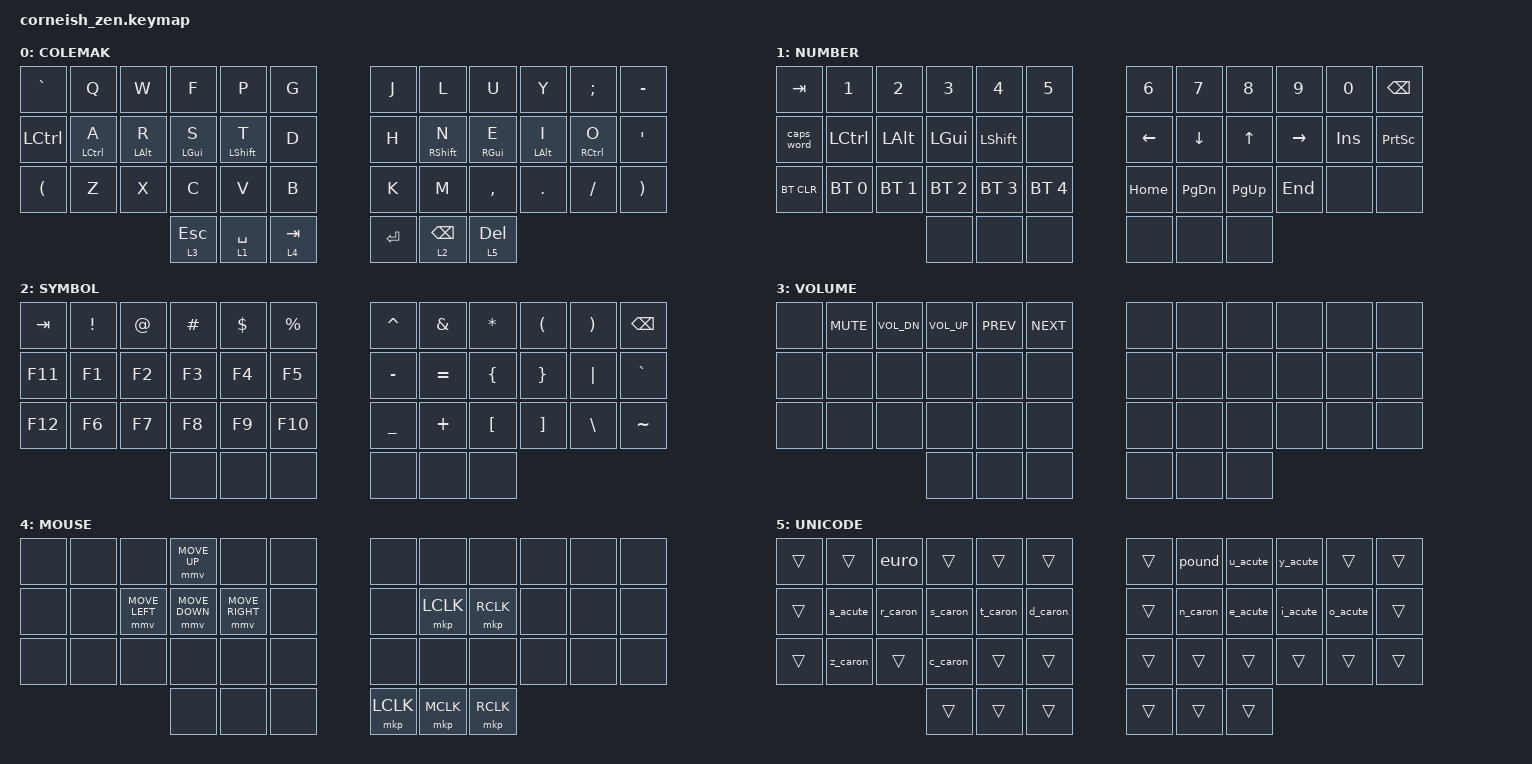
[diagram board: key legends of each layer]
#include <behaviors/mouse_keys.dtsi>
#include <behaviors.dtsi>
#include <dt-bindings/zmk/bt.h>
#include <dt-bindings/zmk/keys.h>
#include <dt-bindings/zmk/mouse.h>

/ {
    chosen { zmk,matrix_transform = &default_transform; };
};

&mt {
    flavor = "tap-preferred";
    quick-tap-ms = <175>;
    tapping-term-ms = <200>;
    require-prior-idle-ms = <125>;
};

&lt {
    flavor = "hold-preferred";
    quick-tap-ms = <100>;
    tapping-term-ms = <150>;
    require-prior-idle-ms = <50>;
};

#define COLEMAK 0
#define NUMBER 1
#define SYMBOL 2
#define VOLUME 3
#define MOUSE 4
#define UNICODE 5

/ {
    combos {
        compatible = "zmk,combos";

        // Copy/paste combos (bottom row)
        combo_cc {
            timeout-ms = <30>;
            key-positions = <25 26>;  // Z+X
            bindings = <&kp LC(C)>;  // Ctrl+C (copy)
        };

        combo_cv {
            timeout-ms = <30>;
            key-positions = <27 28>;  // C+V
            bindings = <&kp LC(V)>;  // Ctrl+V (paste)
        };

        combo_csc {
            timeout-ms = <30>;
            key-positions = <25 26 27>;  // Z+X+C
            bindings = <&kp LC(LS(C))>;  // Ctrl+Shift+C (copy with formatting)
        };

        combo_csv {
            timeout-ms = <30>;
            key-positions = <26 27 28>;  // X+C+V
            bindings = <&kp LC(LS(V))>;  // Ctrl+Shift+V (paste without formatting)
        };

        // GNOME workspace navigation
        combo_workspace_left {
            timeout-ms = <25>;
            key-positions = <3 4>;  // F+P (top row)
            bindings = <&kp LC(LA(LEFT))>;  // Ctrl+Alt+Left
        };

        combo_workspace_right {
            timeout-ms = <25>;
            key-positions = <7 8>;  // L+U (top row)
            bindings = <&kp LC(LA(RIGHT))>;  // Ctrl+Alt+Right
        };

        // Window tiling
        combo_tile_left {
            timeout-ms = <25>;
            key-positions = <1 2>;  // Q+W (left top row)
            bindings = <&kp LS(LG(LEFT))>;  // Super+Shift+Left
        };

        combo_tile_right {
            timeout-ms = <25>;
            key-positions = <9 10>;  // U+Y (right top row)
            bindings = <&kp LS(LG(RIGHT))>;  // Super+Shift+Right
        };
    };

    macros {
        // Special currency symbols
        pound: pound {
            compatible = "zmk,behavior-macro";
            #binding-cells = <0>;
            bindings = <&kp LC(LS(U)) &kp A &kp N3 &kp SPACE>;
        };

        euro: euro {
            compatible = "zmk,behavior-macro";
            #binding-cells = <0>;
            bindings = <&kp LC(LS(U)) &kp N2 &kp N0 &kp A &kp C &kp SPACE>;
        };

        // Czech lowercase vowels
        a_acute: a_acute { compatible = "zmk,behavior-macro"; #binding-cells = <0>; bindings = <&kp LC(LS(U)) &kp E &kp N1 &kp SPACE>; };
        e_acute: e_acute { compatible = "zmk,behavior-macro"; #binding-cells = <0>; bindings = <&kp LC(LS(U)) &kp E &kp N9 &kp SPACE>; };
        e_caron: e_caron { compatible = "zmk,behavior-macro"; #binding-cells = <0>; bindings = <&kp LC(LS(U)) &kp N1 &kp N1 &kp B &kp SPACE>; };
        i_acute: i_acute { compatible = "zmk,behavior-macro"; #binding-cells = <0>; bindings = <&kp LC(LS(U)) &kp E &kp D &kp SPACE>; };
        o_acute: o_acute { compatible = "zmk,behavior-macro"; #binding-cells = <0>; bindings = <&kp LC(LS(U)) &kp F &kp N3 &kp SPACE>; };
        u_acute: u_acute { compatible = "zmk,behavior-macro"; #binding-cells = <0>; bindings = <&kp LC(LS(U)) &kp F &kp A &kp SPACE>; };
        u_ring: u_ring { compatible = "zmk,behavior-macro"; #binding-cells = <0>; bindings = <&kp LC(LS(U)) &kp N1 &kp N6 &kp F &kp SPACE>; };
        y_acute: y_acute { compatible = "zmk,behavior-macro"; #binding-cells = <0>; bindings = <&kp LC(LS(U)) &kp F &kp D &kp SPACE>; };

        // Czech lowercase consonants
        c_caron: c_caron { compatible = "zmk,behavior-macro"; #binding-cells = <0>; bindings = <&kp LC(LS(U)) &kp N1 &kp N0 &kp D &kp SPACE>; };
        d_caron: d_caron { compatible = "zmk,behavior-macro"; #binding-cells = <0>; bindings = <&kp LC(LS(U)) &kp N1 &kp N0 &kp F &kp SPACE>; };
        n_caron: n_caron { compatible = "zmk,behavior-macro"; #binding-cells = <0>; bindings = <&kp LC(LS(U)) &kp N1 &kp N4 &kp N8 &kp SPACE>; };
        r_caron: r_caron { compatible = "zmk,behavior-macro"; #binding-cells = <0>; bindings = <&kp LC(LS(U)) &kp N1 &kp N5 &kp N9 &kp SPACE>; };
        s_caron: s_caron { compatible = "zmk,behavior-macro"; #binding-cells = <0>; bindings = <&kp LC(LS(U)) &kp N1 &kp N6 &kp N1 &kp SPACE>; };
        t_caron: t_caron { compatible = "zmk,behavior-macro"; #binding-cells = <0>; bindings = <&kp LC(LS(U)) &kp N1 &kp N6 &kp N5 &kp SPACE>; };
        z_caron: z_caron { compatible = "zmk,behavior-macro"; #binding-cells = <0>; bindings = <&kp LC(LS(U)) &kp N1 &kp N7 &kp E &kp SPACE>; };
    };

    keymap {
        compatible = "zmk,keymap";

        default_layer {
            label = "COLEMAK";
            bindings = <
&kp GRAVE  &kp Q        &kp W       &kp F       &kp P        &kp G        &kp J        &kp L        &kp U       &kp Y       &kp SEMI     &kp MINUS
&kp LCTRL  &mt LCTRL A  &mt LALT R  &mt LGUI S  &mt LSHFT T  &kp D        &kp H        &mt RSHFT N  &mt RGUI E  &mt LALT I  &mt RCTRL O  &kp SQT
&kp LPAR   &kp Z        &kp X       &kp C       &kp V        &kp B        &kp K        &kp M        &kp COMMA   &kp DOT     &kp FSLH     &kp RPAR
                                    &lt 3 ESC   &lt 1 SPACE  &lt 4 TAB    &kp ENTER    &lt 2 BSPC   &lt 5 DEL
            >;
        };

        number_layer {
            label = "NUMBER";
            bindings = <
&kp TAB     &kp N1        &kp N2        &kp N3        &kp N4        &kp N5          &kp N6    &kp N7     &kp N8     &kp N9     &kp N0   &kp BSPC
&caps_word  &kp LCTRL     &kp LALT      &kp LGUI      &kp LSHFT     &none           &kp LEFT  &kp DOWN   &kp UP     &kp RIGHT  &kp INS  &kp PRINTSCREEN
&bt BT_CLR  &bt BT_SEL 0  &bt BT_SEL 1  &bt BT_SEL 2  &bt BT_SEL 3  &bt BT_SEL 4    &kp HOME  &kp PG_DN  &kp PG_UP  &kp END    &none    &none
                                        &none         &none         &none           &none     &none      &none
            >;
        };

        symbol_layer {
            label = "SYMBOL";
            bindings = <
&kp TAB  &kp EXCL  &kp AT  &kp HASH  &kp DLLR  &kp PRCNT    &kp CARET  &kp AMPS   &kp STAR  &kp LPAR  &kp RPAR  &kp BSPC
&kp F11  &kp F1    &kp F2  &kp F3    &kp F4    &kp F5       &kp MINUS  &kp EQUAL  &kp LBRC  &kp RBRC  &kp PIPE  &kp GRAVE
&kp F12  &kp F6    &kp F7  &kp F8    &kp F9    &kp F10      &kp UNDER  &kp PLUS   &kp LBKT  &kp RBKT  &kp BSLH  &kp TILDE
                           &none     &none     &none        &none      &none      &none
            >;
        };

        volume_layer {
            label = "VOLUME";
            bindings = <
&none     &kp K_MUTE  &kp K_VOL_DN  &kp K_VOL_UP  &kp K_PREV  &kp K_NEXT    &none        &none        &none        &none        &none        &none
&none     &none       &none         &none         &none       &none         &none        &none        &none        &none        &none        &none
&none     &none       &none         &none         &none       &none         &none        &none        &none        &none        &none        &none
                                    &none         &none       &none         &none        &none        &none
            >;
        };

        mouse_layer {
            label = "MOUSE";
            bindings = <
&none  &none  &none           &mmv MOVE_UP    &none            &none    &none      &none      &none      &none  &none  &none
&none  &none  &mmv MOVE_LEFT  &mmv MOVE_DOWN  &mmv MOVE_RIGHT  &none    &none      &mkp LCLK  &mkp RCLK  &none  &none  &none
&none  &none  &none           &none           &none            &none    &none      &none      &none      &none  &none  &none
                              &none           &none            &none    &mkp LCLK  &mkp MCLK  &mkp RCLK
            >;
        };

        unicode_layer {
            label = "UNICODE";
            bindings = <
&trans     &trans     &euro      &trans      &trans      &trans         &trans     &pound     &u_acute    &y_acute   &trans     &trans
&trans     &a_acute   &r_caron   &s_caron    &t_caron    &d_caron       &trans     &n_caron   &e_acute    &i_acute   &o_acute   &trans
&trans     &z_caron   &trans     &c_caron    &trans      &trans         &trans     &trans     &trans      &trans     &trans     &trans
                                 &trans      &trans      &trans         &trans     &trans     &trans
            >;
        };
    };
};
